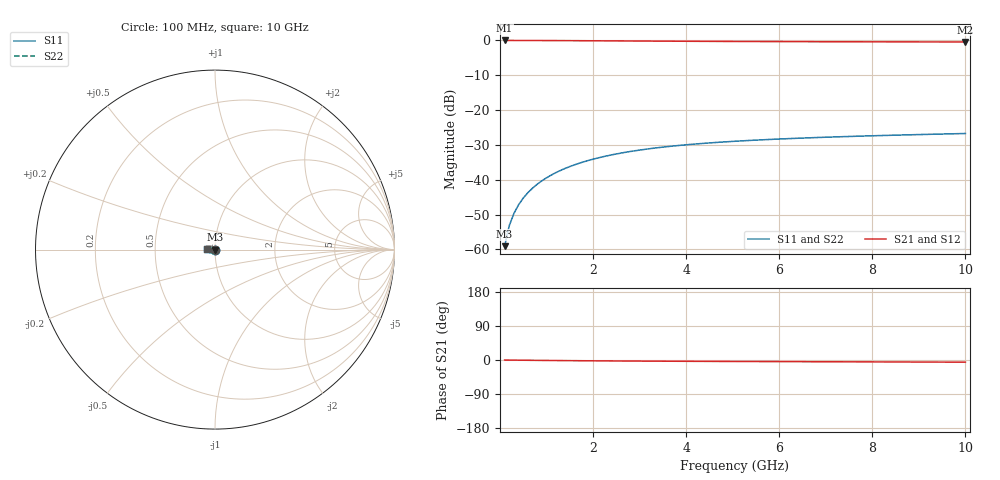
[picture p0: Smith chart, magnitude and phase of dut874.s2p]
! Touchstone file exported from HFSS 2024.1.0
!  File:  C:/UserFiles/LocalFiles/RDL_TSV_Batchsim/temp_TSV1_874_1779883155.aedt
!  Generated:  08:05:33 PM May 27, 2026
!  Design:  TSV1
!  Project:  temp_TSV1_874_1779883155
!  Setup:  Setup1
!  Solution:  Sweep
! Variables:
!  dtsv = 8um
!  hbump = 3um
!  htsv = 90.7um
!  lrdl = 252.1521522um
!  p = 40
!  p1 = 44.14um
!  t = 500um
!  trdl = 3um
!  wrdl = 24.89489489um
# GHz S MA R 50.000000
! Terminal data exported
! Port[1] = TSV22_T1
! Port[2] = TSV22_T2
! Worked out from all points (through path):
!   100 points, 100 MHz to 10 GHz, reference 50 ohm
!   highest |S21| = 0.00 dB at 100 MHz (marker M1); lowest = -0.4 dB at 10 GHz (marker M2)
!   lowest |S11| = -59.1 dB at 100 MHz (marker M3), VSWR 1.00, Z = 50 - j0.109 ohm
!   |S11| at or under -10 dB: start of sweep to end of sweep
!   |S22| runs from -59.1 to -26.7 dB; largest |S21 - S12| = 4.2e-15
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0.1  0.00111 -78.9  0.9997 -0.1  0.9997 -0.1  0.00111 -78.9
! Gamma 0 0 0 0
! Port Impedance 50 0 50 0
0.2  0.00219 -86.7  0.9996 -0.2  0.9996 -0.2  0.00219 -86.7
0.3  0.003278 -90.5  0.9994 -0.4  0.9994 -0.4  0.003278 -90.5
0.4  0.004362 -93.3  0.9992 -0.5  0.9992 -0.5  0.004362 -93.3
0.5  0.005439 -95.7  0.9989 -0.6  0.9989 -0.6  0.005439 -95.7
0.6  0.006506 -97.8  0.9985 -0.7  0.9985 -0.7  0.006506 -97.8
0.7  0.007562 -99.8  0.9981 -0.8  0.9981 -0.8  0.007562 -99.8
0.8  0.008605 -101.7  0.9977 -1.0  0.9977 -1.0  0.008605 -101.7
0.9  0.009634 -103.5  0.9972 -1.1  0.9972 -1.1  0.009634 -103.5
1.1  0.01164 -107.0  0.996 -1.3  0.996 -1.3  0.01164 -107.0
1.4  0.01452 -112.0  0.994 -1.6  0.994 -1.6  0.01452 -112.0
1.6  0.01634 -115.1  0.9925 -1.8  0.9925 -1.8  0.01634 -115.1
1.8  0.01807 -118.2  0.9909 -2.0  0.9909 -2.0  0.01807 -118.2
2.1  0.0205 -122.5  0.9884 -2.2  0.9884 -2.2  0.0205 -122.5
2.5  0.02343 -128.0  0.985 -2.5  0.985 -2.5  0.02343 -128.0
2.9  0.02603 -133.0  0.9816 -2.8  0.9816 -2.8  0.02603 -133.0
3.4  0.02886 -138.8  0.9776 -3.1  0.9776 -3.1  0.02886 -138.8
4.2  0.03256 -147.0  0.972 -3.5  0.972 -3.5  0.03256 -147.0
5.1  0.03581 -154.9  0.9667 -3.9  0.9667 -3.9  0.03581 -154.9
6.7  0.04008 -166.5  0.9597 -4.5  0.9597 -4.5  0.04008 -166.5
8.4  0.04345 -176.4  0.9546 -5.1  0.9546 -5.1  0.04345 -176.4
10  0.04608 175.7  0.9513 -5.7  0.9513 -5.7  0.04608 175.7
